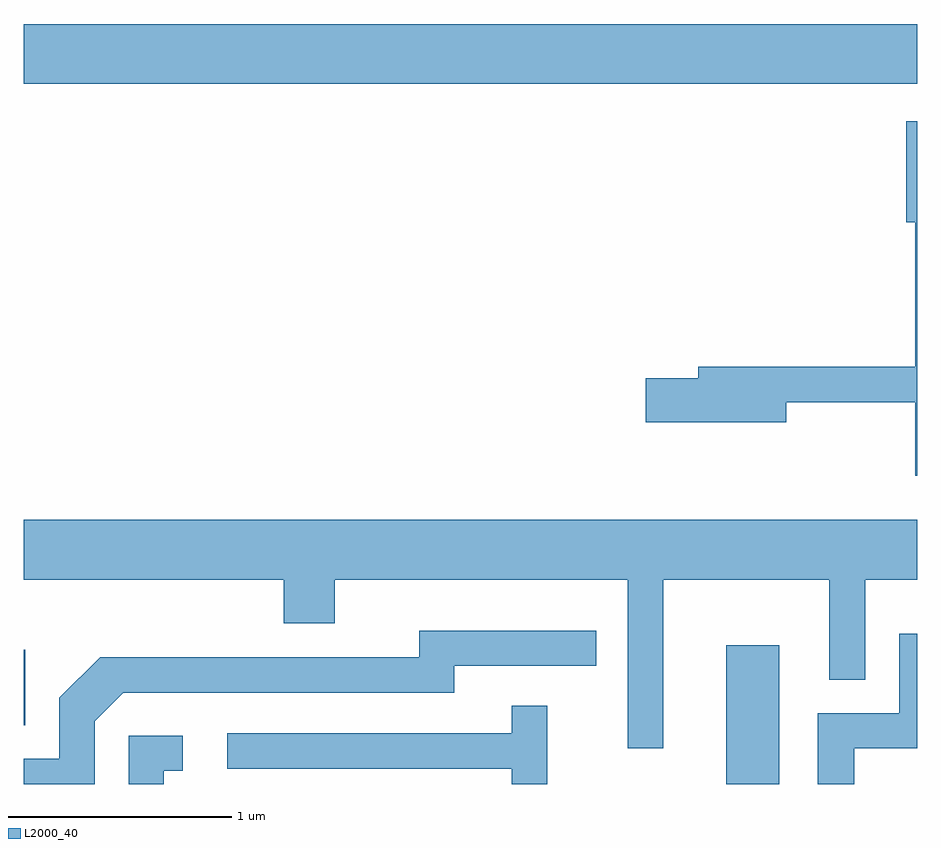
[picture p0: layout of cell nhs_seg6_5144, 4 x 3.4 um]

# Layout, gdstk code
import gdstk
lib = gdstk.Library(unit=1e-6, precision=1e-09)
def R(c, l, rs):  # rectangles x0, y0, x1, y1
    for r in rs: c.add(gdstk.rectangle(r[:2], r[2:], *l))
def P(c, l, *ps):  # polygons
    for p in ps: c.add(gdstk.Polygon(p, *l))
L2000_40 = (2000, 40)

nhs_seg6_5144 = lib.new_cell('nhs_seg6_5144')
R(nhs_seg6_5144, L2000_40, [(344.756,1620.162,344.994,1620.784), (341.611,1620.426,341.619,1620.763), (341.611,1623.296,345.611,1623.564)])
P(nhs_seg6_5144, L2000_40, [(345.611,1623.129),(345.561,1623.129),(345.561,1622.676),(345.601,1622.676),(345.601,1622.029),(344.631,1622.029),(344.631,1621.979),(344.396,1621.979),(344.396,1621.781),(345.024,1621.781),(345.024,1621.871),(345.601,1621.871),(345.601,1621.541),(345.611,1621.541)],
  [(344.474,1621.076),(345.216,1621.076),(345.216,1620.628),(345.379,1620.628),(345.379,1621.076),(345.611,1621.076),(345.611,1621.344),(341.611,1621.344),(341.611,1621.076),(342.776,1621.076),(342.776,1620.881),(343.004,1620.881),(343.004,1621.076),(344.316,1621.076),(344.316,1620.323),(344.474,1620.323)],
  [(341.929,1620.444),(342.057,1620.571),(343.539,1620.571),(343.539,1620.691),(344.173,1620.691),(344.173,1620.849),(343.381,1620.849),(343.381,1620.729),(341.954,1620.729),(341.771,1620.547),(341.771,1620.274),(341.611,1620.274),(341.611,1620.162),(341.929,1620.162)],
  [(345.329,1620.321),(345.611,1620.321),(345.611,1620.834),(345.531,1620.834),(345.531,1620.479),(345.166,1620.479),(345.166,1620.162),(345.329,1620.162)],
  [(343.954,1620.513),(343.796,1620.513),(343.796,1620.389),(342.523,1620.389),(342.523,1620.231),(343.796,1620.231),(343.796,1620.162),(343.954,1620.162)],
  [(342.239,1620.221),(342.323,1620.221),(342.323,1620.379),(342.081,1620.379),(342.081,1620.162),(342.239,1620.162)])

lib.write_gds('nhs_seg6_5144.gds')
